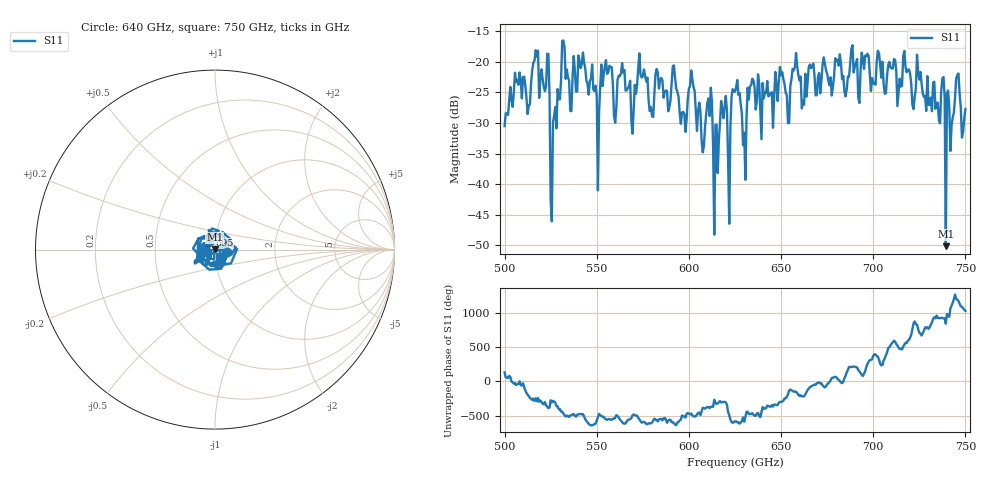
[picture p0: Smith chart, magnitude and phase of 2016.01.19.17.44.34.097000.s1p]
!Created with skrf (http://scikit-rf.org).
# GHz S RI R 50.0
!freq ReS11 ImS11
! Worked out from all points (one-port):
!   401 points, 500 GHz to 750 GHz, reference 50 ohm
!   lowest |S11| = -50.2 dB at 739.4 GHz (marker M1), VSWR 1.01, Z = 49.8 + j0.262 ohm
!   |S11| at or under -10 dB: start of sweep to end of sweep
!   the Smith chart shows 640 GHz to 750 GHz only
!   S11 on the Smith chart (normalised r, x): 640 GHz: 1.14, -0.04; 695 GHz: 0.93, +0.15; 750 GHz: 1.05, -0.07
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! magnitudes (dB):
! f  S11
! 500 GHz  -30.5
! 513.1 GHz  -27.1
! 516.9 GHz  -18.1
! 523.1 GHz  -18.7
! 526.2 GHz  -29.8
! 531.2 GHz  -16.6
! 542.5 GHz  -18.5
! 550 GHz  -25.7
! 553.8 GHz  -22.1
! 562.5 GHz  -22.4
! 593.8 GHz  -24.9
! 601.9 GHz  -22.9
! 608.1 GHz  -33.8
! 611.2 GHz  -28.9
! 614.4 GHz  -30.3
! 618.8 GHz  -29.2
! 622.5 GHz  -30.7
! 625 GHz  -24.9
! 630 GHz  -31.6
! 633.1 GHz  -24.0
! 640 GHz  -23.5
! 656.2 GHz  -21.2
! 687.5 GHz  -20.3
! 695 GHz  -21.2
! 718.8 GHz  -21.3
! 739.4 GHz  -50.2
! 745.6 GHz  -22.1
! 750 GHz  -27.7
